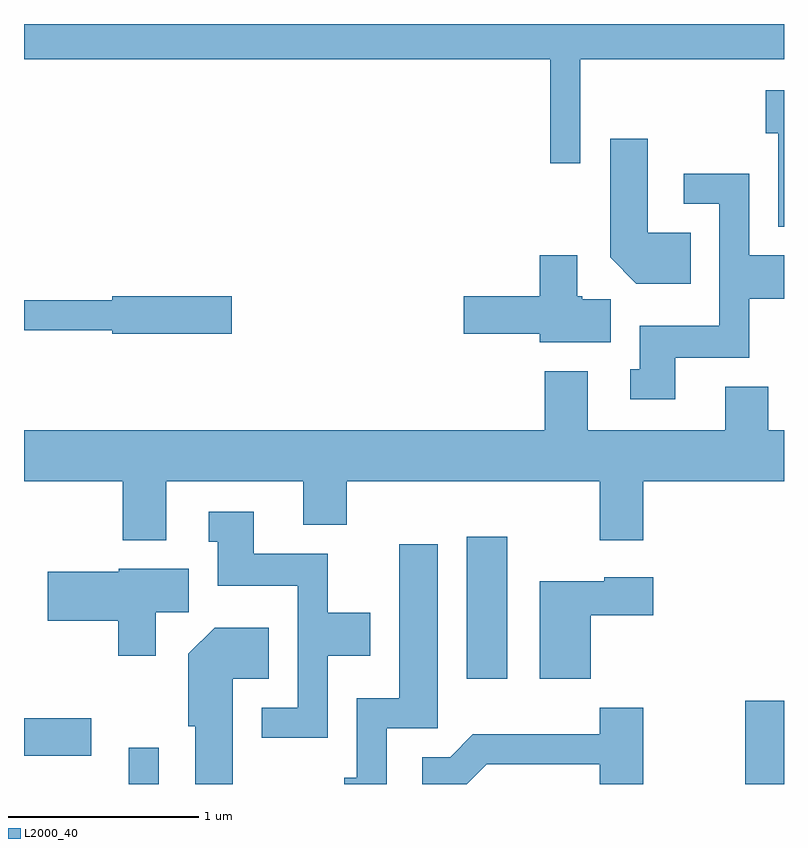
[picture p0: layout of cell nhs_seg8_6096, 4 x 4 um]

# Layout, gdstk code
import gdstk
lib = gdstk.Library(unit=1e-6, precision=1e-09)
def R(c, l, rs):  # rectangles x0, y0, x1, y1
    for r in rs: c.add(gdstk.rectangle(r[:2], r[2:], *l))
def P(c, l, *ps):  # polygons
    for p in ps: c.add(gdstk.Polygon(p, *l))
L2000_40 = (2000, 40)

nhs_seg8_6096 = lib.new_cell('nhs_seg8_6096')
R(nhs_seg8_6096, L2000_40, [(368.161,1870.342,368.319,1870.533), (371.406,1870.342,371.611,1870.779), (367.611,1870.491,367.964,1870.689), (369.941,1870.896,370.154,1871.644)])
P(nhs_seg8_6096, L2000_40, [(370.539,1874.156),(371.611,1874.156),(371.611,1874.342),(367.611,1874.342),(367.611,1874.156),(370.381,1874.156),(370.381,1873.608),(370.539,1873.608)],
  [(371.611,1873.994),(371.516,1873.994),(371.516,1873.766),(371.581,1873.766),(371.581,1873.276),(371.611,1873.276)],
  [(371.119,1873.244),(370.894,1873.244),(370.894,1873.739),(370.696,1873.739),(370.696,1873.114),(370.834,1872.976),(371.119,1872.976)],
  [(371.039,1872.586),(371.429,1872.586),(371.429,1872.896),(371.611,1872.896),(371.611,1873.124),(371.429,1873.124),(371.429,1873.554),(371.083,1873.554),(371.083,1873.396),(371.271,1873.396),(371.271,1872.754),(370.851,1872.754),(370.851,1872.524),(370.803,1872.524),(370.803,1872.366),(371.039,1872.366)],
  [(370.699,1872.894),(370.55,1872.894),(370.55,1872.909),(370.524,1872.909),(370.524,1873.124),(370.326,1873.124),(370.326,1872.909),(369.926,1872.909),(369.926,1872.711),(370.326,1872.711),(370.326,1872.666),(370.699,1872.666)],
  [(368.704,1872.909),(368.076,1872.909),(368.076,1872.889),(367.611,1872.889),(367.611,1872.731),(368.076,1872.731),(368.076,1872.711),(368.704,1872.711)],
  [(368.359,1871.936),(369.081,1871.936),(369.081,1871.706),(369.309,1871.706),(369.309,1871.936),(370.641,1871.936),(370.641,1871.626),(370.869,1871.626),(370.869,1871.936),(371.611,1871.936),(371.611,1872.204),(371.529,1872.204),(371.529,1872.434),(371.301,1872.434),(371.301,1872.204),(370.579,1872.204),(370.579,1872.514),(370.351,1872.514),(370.351,1872.204),(367.611,1872.204),(367.611,1871.936),(368.131,1871.936),(368.131,1871.626),(368.359,1871.626)],
  [(369.209,1871.016),(369.434,1871.016),(369.434,1871.244),(369.209,1871.244),(369.209,1871.554),(368.819,1871.554),(368.819,1871.774),(368.583,1871.774),(368.583,1871.616),(368.631,1871.616),(368.631,1871.386),(369.051,1871.386),(369.051,1870.744),(368.863,1870.744),(368.863,1870.586),(369.209,1870.586)],
  [(369.519,1870.636),(369.789,1870.636),(369.789,1871.604),(369.586,1871.604),(369.586,1870.794),(369.361,1870.794),(369.361,1870.374),(369.296,1870.374),(369.296,1870.342),(369.519,1870.342)],
  [(368.304,1871.246),(368.479,1871.246),(368.479,1871.474),(368.11,1871.474),(368.11,1871.459),(367.736,1871.459),(367.736,1871.201),(368.106,1871.201),(368.106,1871.016),(368.304,1871.016)],
  [(370.594,1871.231),(370.924,1871.231),(370.924,1871.429),(370.666,1871.429),(370.666,1871.409),(370.326,1871.409),(370.326,1870.896),(370.594,1870.896)],
  [(368.709,1870.896),(368.899,1870.896),(368.899,1871.164),(368.614,1871.164),(368.476,1871.027),(368.476,1870.646),(368.511,1870.646),(368.511,1870.342),(368.709,1870.342)],
  [(370.047,1870.446),(370.641,1870.446),(370.641,1870.342),(370.869,1870.342),(370.869,1870.744),(370.641,1870.744),(370.641,1870.604),(369.974,1870.604),(369.854,1870.484),(369.708,1870.484),(369.708,1870.342),(369.942,1870.342)])

lib.write_gds('nhs_seg8_6096.gds')
